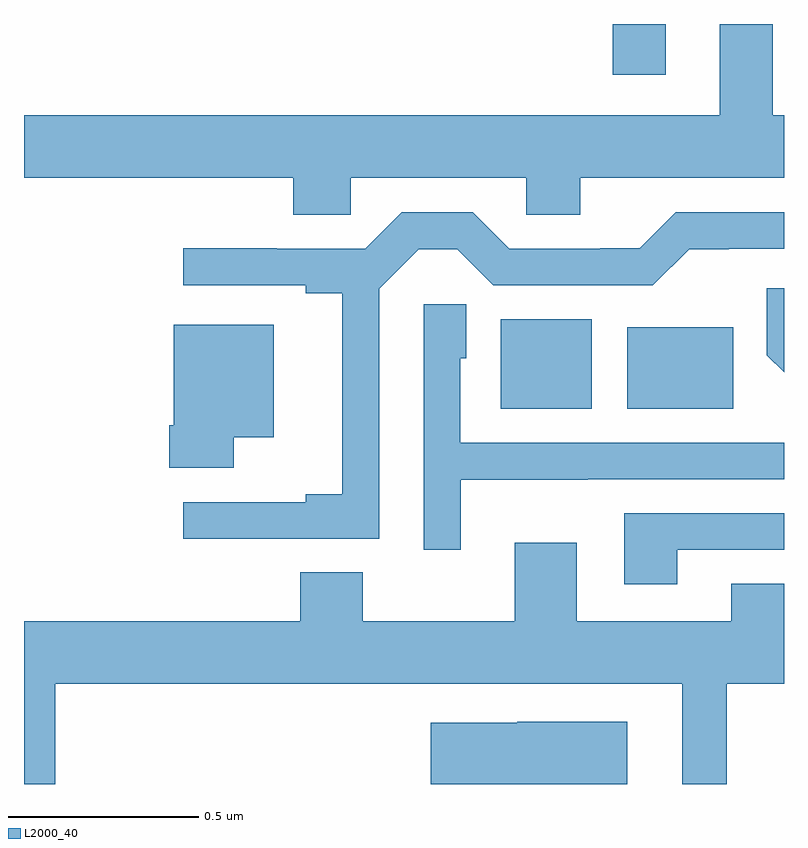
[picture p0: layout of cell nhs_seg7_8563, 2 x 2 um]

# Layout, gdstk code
import gdstk
lib = gdstk.Library(unit=1e-6, precision=1e-09)
def R(c, l, rs):  # rectangles x0, y0, x1, y1
    for r in rs: c.add(gdstk.rectangle(r[:2], r[2:], *l))
def P(c, l, *ps):  # polygons
    for p in ps: c.add(gdstk.Polygon(p, *l))
L2000_40 = (2000, 40)

nhs_seg7_8563 = lib.new_cell('nhs_seg7_8563')
R(nhs_seg7_8563, L2000_40, [(227.255,1019.987,227.494,1020.223), (227.588,1019.987,227.866,1020.202), (227.549,1020.867,227.689,1021)])
P(nhs_seg7_8563, L2000_40, [(226.86,1020.596),(227.322,1020.596),(227.322,1020.498),(227.464,1020.498),(227.464,1020.596),(228,1020.596),(228,1020.76),(227.971,1020.76),(227.971,1021),(227.831,1021),(227.831,1020.76),(226,1020.76),(226,1020.596),(226.709,1020.596),(226.709,1020.498),(226.86,1020.498)],
  [(226.631,1019.646),(226.935,1019.646),(226.935,1020.303),(227.039,1020.407),(227.14,1020.407),(227.235,1020.312),(227.655,1020.312),(227.75,1020.407),(227.854,1020.407),(227.854,1020.408),(228,1020.408),(228,1020.504),(227.715,1020.504),(227.621,1020.41),(227.516,1020.41),(227.516,1020.408),(227.277,1020.408),(227.181,1020.504),(226.994,1020.504),(226.898,1020.408),(226.665,1020.408),(226.665,1020.41),(226.419,1020.41),(226.419,1020.312),(226.742,1020.312),(226.742,1020.292),(226.838,1020.292),(226.838,1019.762),(226.742,1019.762),(226.742,1019.742),(226.419,1019.742),(226.419,1019.645),(226.631,1019.645)],
  [(228,1020.304),(227.955,1020.304),(227.955,1020.128),(228,1020.083)],
  [(227.149,1019.801),(227.483,1019.801),(227.483,1019.802),(228,1019.802),(228,1019.898),(227.148,1019.898),(227.148,1020.12),(227.164,1020.12),(227.164,1020.263),(227.052,1020.263),(227.052,1019.616),(227.149,1019.616)],
  [(226.552,1019.912),(226.657,1019.912),(226.657,1020.208),(226.394,1020.208),(226.394,1019.944),(226.382,1019.944),(226.382,1019.832),(226.552,1019.832)],
  [(227.719,1019.616),(228,1019.616),(228,1019.712),(227.579,1019.712),(227.579,1019.526),(227.719,1019.526)],
  [(226.082,1019.264),(227.732,1019.264),(227.732,1019),(227.849,1019),(227.849,1019.264),(228,1019.264),(228,1019.527),(227.861,1019.527),(227.861,1019.428),(227.455,1019.428),(227.455,1019.635),(227.291,1019.635),(227.291,1019.428),(226.891,1019.428),(226.891,1019.557),(226.727,1019.557),(226.727,1019.428),(226,1019.428),(226,1019),(226.082,1019)],
  [(227.587,1019.164),(227.298,1019.164),(227.298,1019.161),(227.07,1019.161),(227.07,1019),(227.587,1019)])

lib.write_gds('nhs_seg7_8563.gds')
